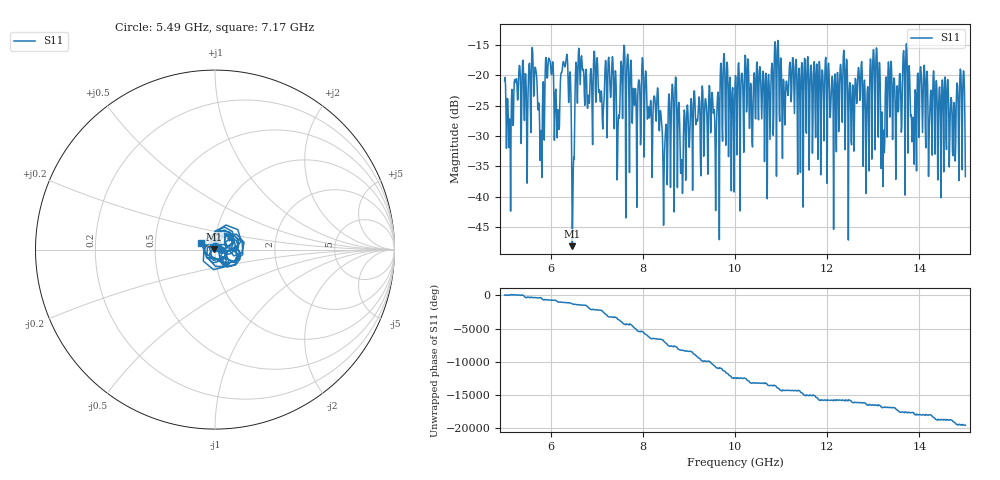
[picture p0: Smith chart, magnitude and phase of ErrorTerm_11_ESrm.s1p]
!  1-Port S-parameters saved by WinCal
! VAR NAME=2-Port SOLT labuser 7
! VAR Error Term Name=ESrm phys rcv port 1 phys src port 1
# Hz S RI R 50
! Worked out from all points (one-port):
!   1001 points, 5 GHz to 15 GHz, reference 50 ohm
!   lowest |S11| = -48.1 dB at 6.47 GHz (marker M1), VSWR 1.01, Z = 49.6 + j0.159 ohm
!   |S11| at or under -10 dB: start of sweep to end of sweep
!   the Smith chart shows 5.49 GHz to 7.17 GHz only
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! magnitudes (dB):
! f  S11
! 5 GHz  -20.9
! 5.09 GHz  -31.9
! 5.64 GHz  -22.7
! 5.77 GHz  -34.0
! 5.93 GHz  -20.4
! 6.13 GHz  -27.4
! 6.25 GHz  -19.1
! 6.39 GHz  -24.5
! 6.47 GHz  -48.1
! 6.65 GHz  -19.4
! 7.5 GHz  -25.5
! 8.03 GHz  -33.5
! 8.49 GHz  -29.3
! 8.75 GHz  -38.5
! 8.85 GHz  -35.2
! 9.61 GHz  -25.2
! 9.73 GHz  -30.8
! 10 GHz  -21.7
! 11.25 GHz  -17.1
! 12.5 GHz  -21.7
! 13.04 GHz  -32.3
! 13.21 GHz  -38.3
! 13.36 GHz  -26.9
! 13.75 GHz  -32.8
! 13.89 GHz  -34.6
! 14.07 GHz  -29.4
! 14.93 GHz  -35.5
! 15 GHz  -36.7
